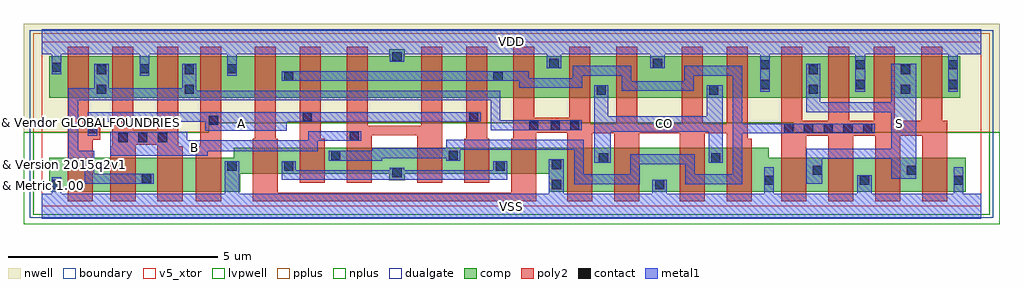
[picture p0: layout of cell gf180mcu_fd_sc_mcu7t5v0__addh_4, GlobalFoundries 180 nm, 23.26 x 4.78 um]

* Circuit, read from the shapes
.subckt gf180mcu_fd_sc_mcu7t5v0__addh_4 A B CO S VDD VSS
XM1 n1 A VSS VSUBS nfet_05v0 w=0.82u l=0.6u
XM2 n2 B n1 VSUBS nfet_05v0 w=0.82u l=0.6u
XM3 n3 B n2 VSUBS nfet_05v0 w=0.82u l=0.6u
XM4 VSS A n3 VSUBS nfet_05v0 w=0.82u l=0.6u
XM5 n4 n2 VSS VSUBS nfet_05v0 w=0.61u l=0.6u m=2
XM6 n5 A n4 VSUBS nfet_05v0 w=0.61u l=0.6u m=2
XM7 n4 B n5 VSUBS nfet_05v0 w=0.61u l=0.6u m=2
XM8 CO n2 VSS VSUBS nfet_05v0 w=1.05u l=0.6u m=4
XM9 S n5 VSS VSUBS nfet_05v0 w=0.82u l=0.6u m=4
XM10 n2 A VDD n6 pfet_05v0 w=0.99u l=0.5u m=2
XM11 VDD B n2 n6 pfet_05v0 w=0.99u l=0.5u m=2
XM12 n5 n2 VDD n6 pfet_05v0 w=0.99u l=0.5u m=2
XM13 n7 A n5 n6 pfet_05v0 w=0.99u l=0.5u
XM14 VDD B n7 n6 pfet_05v0 w=0.99u l=0.5u
XM15 n8 B VDD n6 pfet_05v0 w=0.99u l=0.5u
XM16 n5 A n8 n6 pfet_05v0 w=0.99u l=0.5u
XM17 CO n2 VDD n6 pfet_05v0 w=0.99u l=0.5u m=4
XM18 S n5 VDD n6 pfet_05v0 w=0.99u l=0.5u m=4
.ends

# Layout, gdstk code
import gdstk
lib = gdstk.Library(unit=1e-6, precision=1e-09)
def R(c, l, rs):  # rectangles x0, y0, x1, y1
    for r in rs: c.add(gdstk.rectangle(r[:2], r[2:], *l))
def A(c, l, x, y, w, h, nx, ny, dx, dy):  # array of equal rectangles
    R(c, l, [(x+i*dx, y+j*dy, x+i*dx+w, y+j*dy+h) for i in range(nx) for j in range(ny)])
def P(c, l, *ps):  # polygons
    for p in ps: c.add(gdstk.Polygon(p, *l))
boundary = (0, 0)
nwell = (21, 0)
comp = (22, 0)
poly2 = (30, 0)
pplus = (31, 0)
nplus = (32, 0)
contact = (33, 0)
metal1 = (34, 0)
dualgate = (55, 0)
v5_xtor = (112, 1)
lvpwell = (204, 0)

gf180mcu_fd_sc_mcu7t5v0_ = lib.new_cell('gf180mcu_fd_sc_mcu7t5v0__addh_4')
R(gf180mcu_fd_sc_mcu7t5v0_, boundary, [(0,0,22.4,3.92)])
P(gf180mcu_fd_sc_mcu7t5v0_, nwell, [(-0.43,1.76),(-0.43,4.35),(22.83,4.35),(22.83,1.76),(17.93,1.76),(17.93,1.99),(3.98,1.99),(3.98,1.76)])
P(gf180mcu_fd_sc_mcu7t5v0_, comp, [(0.18,2.59),(0.18,3.58),(8.29,3.58),(8.29,3.74),(8.65,3.74),(8.65,3.58),(21.9,3.58),(21.9,2.59)],
  [(0.18,0.34),(0.18,1.16),(4.58,1.16),(4.58,1.39),(17.33,1.39),(17.33,1.16),(22.03,1.16),(22.03,0.34),(12.09,0.34),(12.09,0.78),(8.65,0.78),(8.65,0.62),(8.29,0.62),(8.29,0.78),(4.73,0.78),(4.73,0.34)])
P(gf180mcu_fd_sc_mcu7t5v0_, poly2, [(0.62,0.12),(0.62,3.8),(1.12,3.8),(1.12,2.035),(1.395,2.035),(1.395,1.585),(1.22,1.585),(1.22,0.12)],
  [(1.64,0.12),(1.64,1.435),(1.69,1.435),(1.69,3.8),(2.19,3.8),(2.19,1.82),(2.76,1.82),(2.76,3.8),(3.26,3.8),(3.26,1.435),(3.36,1.435),(3.36,0.12),(2.76,0.12),(2.76,1.46),(2.24,1.46),(2.24,0.12)],
  [(3.68,0.12),(3.68,1.435),(3.78,1.435),(3.78,3.8),(4.28,3.8),(4.28,0.12)],
  [(6.15,0.56),(6.15,3.8),(6.65,3.8),(6.65,1.61),(6.75,1.61),(6.75,0.56)],
  [(7.27,0.56),(7.27,3.8),(7.77,3.8),(7.77,1.92),(9.05,1.92),(9.05,3.8),(9.55,3.8),(9.55,0.56),(8.95,0.56),(8.95,1.69),(7.87,1.69),(7.87,0.56)],
  [(10.07,0.56),(10.07,1.61),(10.12,1.61),(10.12,3.8),(10.62,3.8),(10.62,1.61),(10.67,1.61),(10.67,0.56)],
  [(5.03,0.12),(5.03,1.61),(5.08,1.61),(5.08,3.8),(5.58,3.8),(5.58,1.61),(5.63,1.61),(5.63,0.32),(11.19,0.32),(11.19,1.61),(11.24,1.61),(11.24,3.8),(11.74,3.8),(11.74,2.11),(12.58,2.11),(12.58,3.8),(13.08,3.8),(13.08,1.97),(13.7,1.97),(13.7,3.8),(14.2,3.8),(14.2,1.97),(15.26,1.97),(15.26,3.8),(15.76,3.8),(15.76,1.97),(16.33,1.97),(16.33,3.8),(16.83,3.8),(16.83,1.61),(16.93,1.61),(16.93,0.12),(16.33,0.12),(16.33,1.74),(15.81,1.74),(15.81,0.12),(15.21,0.12),(15.21,1.74),(14.25,1.74),(14.25,0.12),(13.65,0.12),(13.65,1.74),(13.13,1.74),(13.13,0.12),(12.53,0.12),(12.53,1.75),(11.79,1.75),(11.79,0.12)],
  [(17.63,0.12),(17.63,3.8),(18.13,3.8),(18.13,2.035),(18.75,2.035),(18.75,3.8),(19.25,3.8),(19.25,2.035),(19.83,2.035),(19.83,3.8),(20.33,3.8),(20.33,2.035),(20.96,2.035),(20.96,3.8),(21.46,3.8),(21.46,2.035),(21.59,2.035),(21.59,0.12),(20.99,0.12),(20.99,1.675),(20.47,1.675),(20.47,0.12),(19.87,0.12),(19.87,1.675),(19.35,1.675),(19.35,0.12),(18.75,0.12),(18.75,1.675),(18.23,1.675),(18.23,0.12)])
P(gf180mcu_fd_sc_mcu7t5v0_, pplus, [(-0.2,1.76),(-0.2,4.12),(22.6,4.12),(22.6,1.76),(17.93,1.76),(17.93,1.99),(3.98,1.99),(3.98,1.76)])
P(gf180mcu_fd_sc_mcu7t5v0_, nplus, [(-0.2,-0.2),(-0.2,1.76),(3.98,1.76),(3.98,1.99),(17.93,1.99),(17.93,1.76),(22.6,1.76),(22.6,-0.2)])
A(gf180mcu_fd_sc_mcu7t5v0_, contact, 1.83, 1.53, 0.22, 0.22, 3, 1, 0.47, 0)
A(gf180mcu_fd_sc_mcu7t5v0_, contact, 17.7, 1.745, 0.22, 0.22, 5, 1, 0.47, 0)
R(gf180mcu_fd_sc_mcu7t5v0_, contact, [(0.25,0.41,0.47,0.63), (12.16,0.41,12.38,0.63), (14.62,0.41,14.84,0.63), (17.23,0.51,17.45,0.73), (19.5,0.51,19.72,0.73), (21.74,0.51,21.96,0.73), (2.39,0.545,2.61,0.765), (8.36,0.69,8.58,0.91), (18.38,0.745,18.6,0.965), (20.62,0.745,20.84,0.965), (4.43,0.85,4.65,1.07), (5.78,0.85,6,1.07), (10.82,0.85,11.04,1.07), (12.16,0.88,12.38,1.1), (13.28,1.04,13.5,1.26), (15.96,1.04,16.18,1.26), (6.9,1.1,7.12,1.32), (9.7,1.1,9.92,1.32), (7.34,1.56,7.56,1.78), (1.105,1.745,1.325,1.965), (11.62,1.82,11.84,2.04), (12.13,1.82,12.35,2.04), (12.6,1.82,12.82,2.04), (3.99,1.94,4.21,2.16), (6.22,2.02,6.44,2.24), (10.19,2.02,10.41,2.24), (13.23,2.66,13.45,2.88), (15.91,2.66,16.13,2.88), (1.32,2.68,1.54,2.9), (3.41,2.68,3.63,2.9), (18.28,2.68,18.5,2.9), (20.48,2.68,20.7,2.9), (17.13,2.79,17.35,3.01), (19.4,2.79,19.62,3.01), (21.61,2.79,21.83,3.01), (5.78,2.99,6,3.21), (10.77,2.99,10.99,3.21), (1.32,3.15,1.54,3.37), (3.41,3.15,3.63,3.37), (18.28,3.15,18.5,3.37), (20.48,3.15,20.7,3.37), (2.34,3.165,2.56,3.385), (4.43,3.165,4.65,3.385), (0.25,3.205,0.47,3.425), (17.13,3.26,17.35,3.48), (19.4,3.26,19.62,3.48), (21.61,3.26,21.83,3.48), (12.105,3.29,12.325,3.51), (14.57,3.29,14.79,3.51), (8.36,3.45,8.58,3.67)])
P(gf180mcu_fd_sc_mcu7t5v0_, metal1, [(1.64,1.2),(1.64,1.775),(3.47,1.775),(3.47,1.57),(6.355,1.57),(6.355,1.785),(7.62,1.785),(7.62,1.555),(6.585,1.555),(6.585,1.305),(3.965,1.305),(3.965,1.2)],
  [(1.1,1.685),(1.1,2.245),(10.47,2.245),(10.47,2.015),(5.845,2.015),(5.845,1.8),(3.905,1.8),(3.905,2.015),(1.33,2.015),(1.33,1.685)],
  [(5.72,0.63),(5.72,1.075),(6.06,1.075),(6.06,0.86),(8.3,0.86),(8.3,0.915),(8.64,0.915),(8.64,0.86),(10.76,0.86),(10.76,1.075),(11.1,1.075),(11.1,0.63)],
  [(1.025,0.54),(1.025,1.09),(0.64,1.09),(0.64,2.815),(1.255,2.815),(1.255,3.39),(1.6,3.39),(1.6,2.815),(3.35,2.815),(3.35,3.39),(3.69,3.39),(3.69,2.755),(10.93,2.755),(10.93,2.045),(12.88,2.045),(12.88,1.815),(10.7,1.815),(10.7,2.525),(0.87,2.525),(0.87,1.32),(1.255,1.32),(1.255,0.77),(2.67,0.77),(2.67,0.54)],
  [(13.17,1.035),(13.17,2.885),(13.51,2.885),(13.51,2.15),(15.85,2.15),(15.85,2.885),(16.24,2.885),(16.24,1.035),(15.9,1.035),(15.9,1.77),(13.56,1.77),(13.56,1.035)],
  [(12.69,0.53),(12.69,1.35),(9.98,1.35),(9.98,1.09),(9.64,1.09),(9.64,1.145),(8.115,1.145),(8.115,1.09),(6.84,1.09),(6.84,1.325),(7.885,1.325),(7.885,1.38),(9.64,1.38),(9.64,1.585),(12.92,1.585),(12.92,0.76),(14.03,0.76),(14.03,1.235),(15.565,1.235),(15.565,0.76),(16.47,0.76),(16.47,3.115),(15.545,3.115),(15.545,2.75),(13.825,2.75),(13.825,3.115),(12.89,3.115),(12.89,2.825),(11.385,2.825),(11.385,2.985),(5.72,2.985),(5.72,3.215),(11.615,3.215),(11.615,3.055),(12.66,3.055),(12.66,3.345),(14.055,3.345),(14.055,2.98),(15.315,2.98),(15.315,3.345),(16.7,3.345),(16.7,1.97),(19.86,1.97),(19.86,1.74),(16.7,1.74),(16.7,0.53),(15.335,0.53),(15.335,1.005),(14.26,1.005),(14.26,0.53)],
  [(18.22,0.54),(18.22,1.37),(20.25,1.37),(20.25,2.245),(18.22,2.245),(18.22,3.39),(18.56,3.39),(18.56,2.48),(20.25,2.48),(20.25,3.39),(20.845,3.39),(20.845,0.65),(20.25,0.65),(20.25,1.135),(18.605,1.135),(18.605,0.54)],
  [(0,-0.3),(0,0.3),(0.245,0.3),(0.245,0.69),(0.475,0.69),(0.475,0.3),(4.37,0.3),(4.37,1.075),(4.71,1.075),(4.71,0.3),(12.09,0.3),(12.09,1.12),(12.44,1.12),(12.44,0.3),(14.56,0.3),(14.56,0.635),(14.9,0.635),(14.9,0.3),(17.225,0.3),(17.225,0.935),(17.455,0.935),(17.455,0.3),(19.44,0.3),(19.44,0.735),(19.78,0.735),(19.78,0.3),(21.735,0.3),(21.735,0.935),(21.965,0.935),(21.965,0.3),(22.4,0.3),(22.4,-0.3)],
  [(17.125,2.73),(17.125,3.62),(14.85,3.62),(14.85,3.285),(14.51,3.285),(14.51,3.62),(12.385,3.62),(12.385,3.285),(12.045,3.285),(12.045,3.62),(8.64,3.62),(8.64,3.445),(8.3,3.445),(8.3,3.62),(4.655,3.62),(4.655,3.105),(4.425,3.105),(4.425,3.62),(2.565,3.62),(2.565,3.105),(2.335,3.105),(2.335,3.62),(0.475,3.62),(0.475,3.145),(0.245,3.145),(0.245,3.62),(0,3.62),(0,4.22),(22.4,4.22),(22.4,3.62),(21.835,3.62),(21.835,2.73),(21.605,2.73),(21.605,3.62),(19.625,3.62),(19.625,2.73),(19.395,2.73),(19.395,3.62),(17.355,3.62),(17.355,2.73)])
R(gf180mcu_fd_sc_mcu7t5v0_, dualgate, [(-0.28,-0.28,22.68,4.2)])
R(gf180mcu_fd_sc_mcu7t5v0_, v5_xtor, [(0,0,22.4,3.92)])
P(gf180mcu_fd_sc_mcu7t5v0_, lvpwell, [(-0.43,-0.43),(-0.43,1.76),(3.98,1.76),(3.98,1.99),(17.93,1.99),(17.93,1.76),(22.83,1.76),(22.83,-0.43)])
gf180mcu_fd_sc_mcu7t5v0_.add(gdstk.Label('B', (3.64,1.4), layer=34, texttype=10))
gf180mcu_fd_sc_mcu7t5v0_.add(gdstk.Label('CO', (14.84,1.96), layer=34, texttype=10))
gf180mcu_fd_sc_mcu7t5v0_.add(gdstk.Label('S', (20.44,1.96), layer=34, texttype=10))
gf180mcu_fd_sc_mcu7t5v0_.add(gdstk.Label('VDD', (11.2,3.92), layer=34, texttype=10))
gf180mcu_fd_sc_mcu7t5v0_.add(gdstk.Label('VSS', (11.2,0), layer=34, texttype=10))
gf180mcu_fd_sc_mcu7t5v0_.add(gdstk.Label('A', (4.76,1.96), layer=34, texttype=10))
gf180mcu_fd_sc_mcu7t5v0_.add(gdstk.Label('& Vendor GLOBALFOUNDRIES', (0,2), layer=63, texttype=63))
gf180mcu_fd_sc_mcu7t5v0_.add(gdstk.Label('& Product GF018hv5v_mcu_sc7', (0,1.5), layer=63, texttype=63))
gf180mcu_fd_sc_mcu7t5v0_.add(gdstk.Label('& Version 2015q2v1', (0,1), layer=63, texttype=63))
gf180mcu_fd_sc_mcu7t5v0_.add(gdstk.Label('& Metric 1.00', (0,0.5), layer=63, texttype=63))

lib.write_gds('gf180mcu_fd_sc_mcu7t5v0__addh_4.gds')
